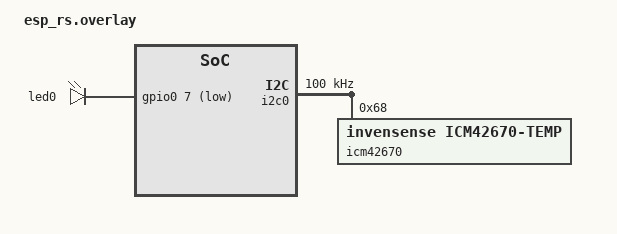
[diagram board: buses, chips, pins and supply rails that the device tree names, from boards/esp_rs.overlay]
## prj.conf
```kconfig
CONFIG_LOG=y
CONFIG_SHELL=y
CONFIG_I2C=y
CONFIG_SENSOR=y
CONFIG_CBPRINTF_FP_SUPPORT=y
# CONFIG_SENSOR_SHELL=y
```

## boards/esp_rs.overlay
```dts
/ {
	aliases {
		led = &led0;
	};

	leds {
		compatible = "gpio-leds";
		led0: red_led {
			gpios = <&gpio0 7 GPIO_ACTIVE_LOW>;
		};
	};

};

&i2c0 {
	status = "okay";
	clock-frequency = <I2C_BITRATE_STANDARD>;
	pinctrl-0 = <&i2c0_default>;
	pinctrl-names = "default";

	icm42670@68 {
		compatible = "invensense,icm42670-temp";
		reg = <0x68>;
		status = "okay";
		// int-gpios = <&gpio0 11 GPIO_ACTIVE_HIGH>;
		accel-hz = <800>;
		accel-fs = <16>;
		gyro-hz = <800>;
		gyro-fs = <2000>;
	};
};
```

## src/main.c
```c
/*
 * Copyright (c) 2017 Linaro Limited
 *
 * SPDX-License-Identifier: Apache-2.0
 */

#include <zephyr/kernel.h>
#include <zephyr/device.h>
#include <zephyr/drivers/gpio.h>
#include <zephyr/drivers/sensor.h>
#include <zephyr/logging/log.h>

LOG_MODULE_REGISTER(app);

int main(void)
{
	const struct device *const imu = DEVICE_DT_GET(DT_INST(0, invensense_icm42670_temp));

	if (!device_is_ready(imu)) {
		LOG_ERR("ICM42670 sensor device %s is not ready", imu->name);
		return -EIO;
	}

	while (1) {
		struct sensor_value accel[3], gyro[3];

		int rc = sensor_sample_fetch(imu);
		if (rc) {
			LOG_ERR("Error %d: failed to fetch sample", rc);
			return -EIO;
		}

		rc = sensor_channel_get(imu, SENSOR_CHAN_ACCEL_XYZ, accel);
		if (rc) {
			LOG_ERR("Error %d: failed to get acceleration", rc);
			return -EIO;
		}

		rc = sensor_channel_get(imu, SENSOR_CHAN_GYRO_XYZ, gyro);
		if (rc) {
			LOG_ERR("Error %d: failed to get gyro", rc);
			return -EIO;
		}

		LOG_INF("Acceleration: x=%.2f y=%.2f z=%.2f", sensor_value_to_double(&accel[0]),
			sensor_value_to_double(&accel[1]), sensor_value_to_double(&accel[2]));

		LOG_INF("Gyro: x=%.2f y=%.2f z=%.2f", sensor_value_to_double(&gyro[0]),
			sensor_value_to_double(&gyro[1]), sensor_value_to_double(&gyro[2]));

		k_msleep(500);
	}
}
```
